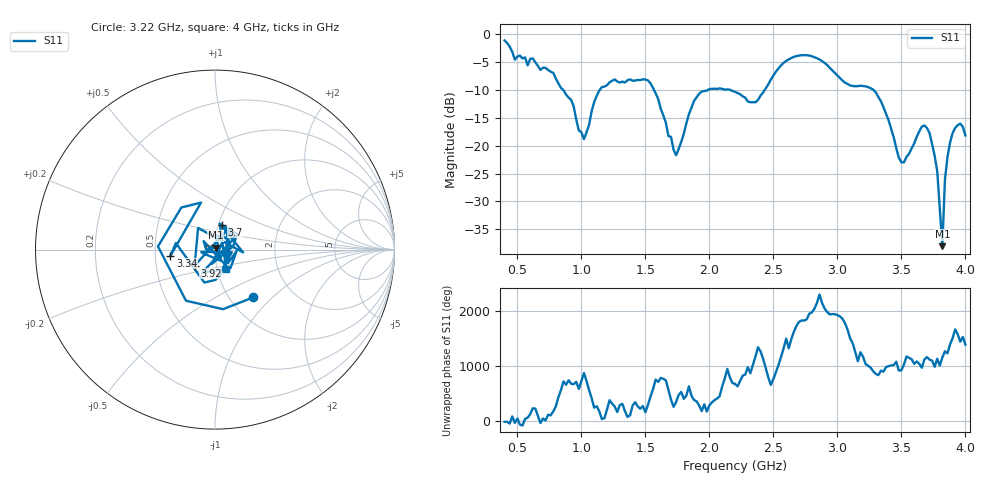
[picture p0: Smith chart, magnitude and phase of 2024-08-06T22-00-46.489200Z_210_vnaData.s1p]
!Created with skrf (http://scikit-rf.org).
# Hz S RI R 50.0
!freq ReS11 ImS11
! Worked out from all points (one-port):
!   181 points, 400 MHz to 4 GHz, reference 50 ohm
!   lowest |S11| = -38.0 dB at 3.82 GHz (marker M1), VSWR 1.03, Z = 50.5 + j1.17 ohm
!   |S11| at or under -10 dB: 857.5 MHz to 1.143 GHz (285.5 MHz wide, 28.5 % of centre); 1.567 GHz to 1.989 GHz (422.4 MHz wide, 23.8 % of centre); 3.282 GHz to end of sweep (the widest 3 of 4)
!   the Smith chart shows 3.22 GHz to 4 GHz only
!   S11 on the Smith chart (normalised r, x): 3.22 GHz: 1.28, -0.77; 3.34 GHz: 0.60, -0.04; 3.7 GHz: 1.04, +0.29; 3.92 GHz: 0.78, -0.14; 4 GHz: 1.11, -0.24
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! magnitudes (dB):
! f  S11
! 400 MHz  -1.1
! 480 MHz  -4.6
! 620 MHz  -4.3
! 860 MHz  -10.1
! 1.02 GHz  -18.8
! 1.14 GHz  -10.1
! 1.3 GHz  -8.7
! 1.52 GHz  -8.3
! 1.6 GHz  -11.6
! 1.72 GHz  -20.7
! 1.76 GHz  -20.6
! 1.92 GHz  -10.7
! 2.2 GHz  -10.3
! 2.36 GHz  -12.2
! 2.66 GHz  -4.1
! 2.86 GHz  -4.5
! 3.1 GHz  -9.2
! 3.22 GHz  -9.4
! 3.34 GHz  -12.0
! 3.48 GHz  -22.2
! 3.56 GHz  -21.5
! 3.7 GHz  -16.8
! 3.78 GHz  -24.6
! 3.82 GHz  -38.0
! 3.84 GHz  -26.2
! 3.88 GHz  -19.5
! 3.92 GHz  -16.8
! 4 GHz  -18.2
